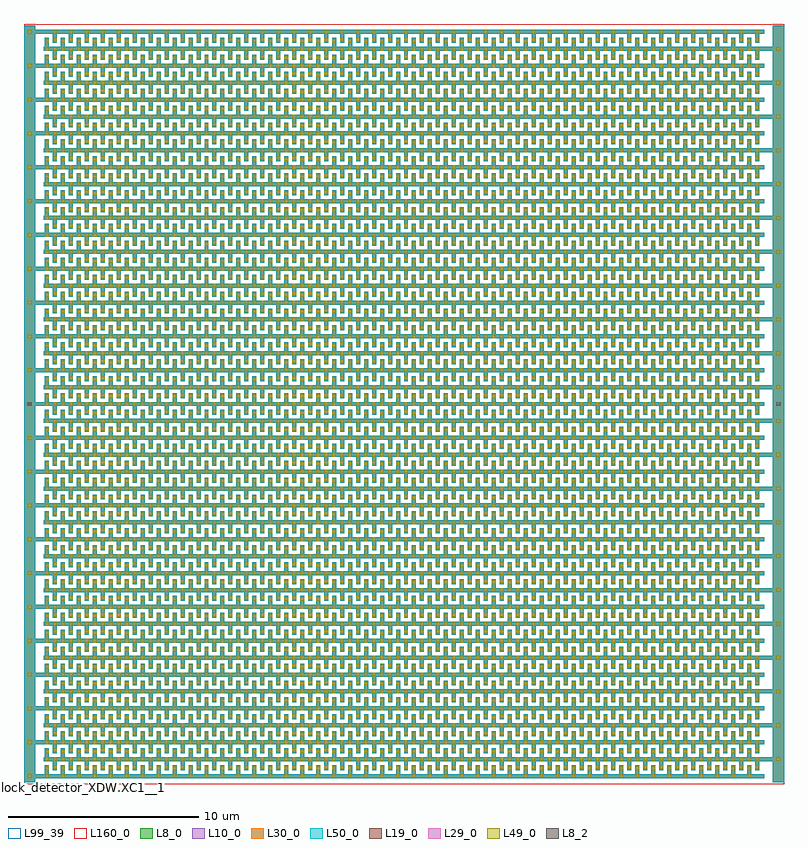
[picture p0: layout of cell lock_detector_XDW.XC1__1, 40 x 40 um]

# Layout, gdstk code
import gdstk
lib = gdstk.Library(unit=1e-6, precision=1e-09)
def R(c, l, rs):  # rectangles x0, y0, x1, y1
    for r in rs: c.add(gdstk.rectangle(r[:2], r[2:], *l))
def A(c, l, x, y, w, h, nx, ny, dx, dy):  # array of equal rectangles
    R(c, l, [(x+i*dx, y+j*dy, x+i*dx+w, y+j*dy+h) for i in range(nx) for j in range(ny)])
L8_0 = (8, 0)
L8_2 = (8, 2)
L10_0 = (10, 0)
L19_0 = (19, 0)
L29_0 = (29, 0)
L30_0 = (30, 0)
L49_0 = (49, 0)
L50_0 = (50, 0)
L99_39 = (99, 39)
L160_0 = (160, 0)

lock_detector_xdw_xc1__1 = lib.new_cell('lock_detector_XDW.XC1__1')
A(lock_detector_xdw_xc1__1, L8_0, 0, 0.315, 38.95, 0.21, 1, 23, 0, 1.78)
A(lock_detector_xdw_xc1__1, L8_0, 1.1, 0.42, 0.21, 0.575, 45, 44, 0.84, 0.89)
A(lock_detector_xdw_xc1__1, L8_0, 1.52, 0.735, 0.21, 0.575, 45, 44, 0.84, 0.89)
A(lock_detector_xdw_xc1__1, L8_0, 1.05, 1.205, 38.95, 0.21, 1, 22, 0, 1.78)
R(lock_detector_xdw_xc1__1, L8_0, [(0,0.1,0.6,39.9), (39.4,0.1,40,39.9)])
R(lock_detector_xdw_xc1__1, L8_2, [(0.2,19.895,0.4,20.105), (39.6,19.895,39.8,20.105)])
A(lock_detector_xdw_xc1__1, L10_0, 0, 0.315, 38.95, 0.21, 1, 23, 0, 1.78)
A(lock_detector_xdw_xc1__1, L10_0, 1.1, 0.42, 0.21, 0.575, 45, 44, 0.84, 0.89)
A(lock_detector_xdw_xc1__1, L10_0, 1.52, 0.735, 0.21, 0.575, 45, 44, 0.84, 0.89)
A(lock_detector_xdw_xc1__1, L10_0, 1.05, 1.205, 38.95, 0.21, 1, 22, 0, 1.78)
R(lock_detector_xdw_xc1__1, L10_0, [(0,0.1,0.6,39.9), (39.4,0.1,40,39.9)])
A(lock_detector_xdw_xc1__1, L19_0, 0.205, 0.325, 0.19, 0.19, 1, 23, 0, 1.78)
A(lock_detector_xdw_xc1__1, L19_0, 1.11, 0.325, 0.19, 0.19, 45, 2, 0.84, 0.41)
A(lock_detector_xdw_xc1__1, L19_0, 1.53, 0.805, 0.19, 0.19, 45, 44, 0.84, 0.89)
A(lock_detector_xdw_xc1__1, L19_0, 1.11, 1.215, 0.19, 0.19, 90, 43, 0.42, 0.89)
A(lock_detector_xdw_xc1__1, L19_0, 39.605, 1.215, 0.19, 0.19, 1, 22, 0, 1.78)
A(lock_detector_xdw_xc1__1, L19_0, 1.11, 1.625, 0.19, 0.19, 45, 43, 0.84, 0.89)
A(lock_detector_xdw_xc1__1, L19_0, 1.53, 39.485, 0.19, 0.19, 45, 1, 0.84, 0)
A(lock_detector_xdw_xc1__1, L29_0, 0.205, 0.325, 0.19, 0.19, 1, 23, 0, 1.78)
A(lock_detector_xdw_xc1__1, L29_0, 1.11, 0.325, 0.19, 0.19, 45, 2, 0.84, 0.41)
A(lock_detector_xdw_xc1__1, L29_0, 1.53, 0.805, 0.19, 0.19, 45, 44, 0.84, 0.89)
A(lock_detector_xdw_xc1__1, L29_0, 1.11, 1.215, 0.19, 0.19, 90, 43, 0.42, 0.89)
A(lock_detector_xdw_xc1__1, L29_0, 39.605, 1.215, 0.19, 0.19, 1, 22, 0, 1.78)
A(lock_detector_xdw_xc1__1, L29_0, 1.11, 1.625, 0.19, 0.19, 45, 43, 0.84, 0.89)
A(lock_detector_xdw_xc1__1, L29_0, 1.53, 39.485, 0.19, 0.19, 45, 1, 0.84, 0)
A(lock_detector_xdw_xc1__1, L30_0, 0, 0.315, 38.95, 0.21, 1, 23, 0, 1.78)
A(lock_detector_xdw_xc1__1, L30_0, 1.1, 0.42, 0.21, 0.575, 45, 44, 0.84, 0.89)
A(lock_detector_xdw_xc1__1, L30_0, 1.52, 0.735, 0.21, 0.575, 45, 44, 0.84, 0.89)
A(lock_detector_xdw_xc1__1, L30_0, 1.05, 1.205, 38.95, 0.21, 1, 22, 0, 1.78)
R(lock_detector_xdw_xc1__1, L30_0, [(0,0.1,0.6,39.9), (39.4,0.1,40,39.9)])
A(lock_detector_xdw_xc1__1, L49_0, 0.205, 0.325, 0.19, 0.19, 1, 23, 0, 1.78)
A(lock_detector_xdw_xc1__1, L49_0, 1.11, 0.325, 0.19, 0.19, 45, 2, 0.84, 0.41)
A(lock_detector_xdw_xc1__1, L49_0, 1.53, 0.805, 0.19, 0.19, 45, 44, 0.84, 0.89)
A(lock_detector_xdw_xc1__1, L49_0, 1.11, 1.215, 0.19, 0.19, 90, 43, 0.42, 0.89)
A(lock_detector_xdw_xc1__1, L49_0, 39.605, 1.215, 0.19, 0.19, 1, 22, 0, 1.78)
A(lock_detector_xdw_xc1__1, L49_0, 1.11, 1.625, 0.19, 0.19, 45, 43, 0.84, 0.89)
A(lock_detector_xdw_xc1__1, L49_0, 1.53, 39.485, 0.19, 0.19, 45, 1, 0.84, 0)
A(lock_detector_xdw_xc1__1, L50_0, 0, 0.315, 38.95, 0.21, 1, 23, 0, 1.78)
A(lock_detector_xdw_xc1__1, L50_0, 1.1, 0.42, 0.21, 0.575, 45, 44, 0.84, 0.89)
A(lock_detector_xdw_xc1__1, L50_0, 1.52, 0.735, 0.21, 0.575, 45, 44, 0.84, 0.89)
A(lock_detector_xdw_xc1__1, L50_0, 1.05, 1.205, 38.95, 0.21, 1, 22, 0, 1.78)
R(lock_detector_xdw_xc1__1, L50_0, [(0,0.1,0.6,39.9), (39.4,0.1,40,39.9)])
R(lock_detector_xdw_xc1__1, L99_39, [(0,0,40,40)])
R(lock_detector_xdw_xc1__1, L160_0, [(0,0,40,40)])
lock_detector_xdw_xc1__1.add(gdstk.Label('lock_detector_XDW.XC1__1', (0,-0.2), layer=63, texttype=0))

lib.write_gds('lock_detector_XDW.XC1__1.gds')
